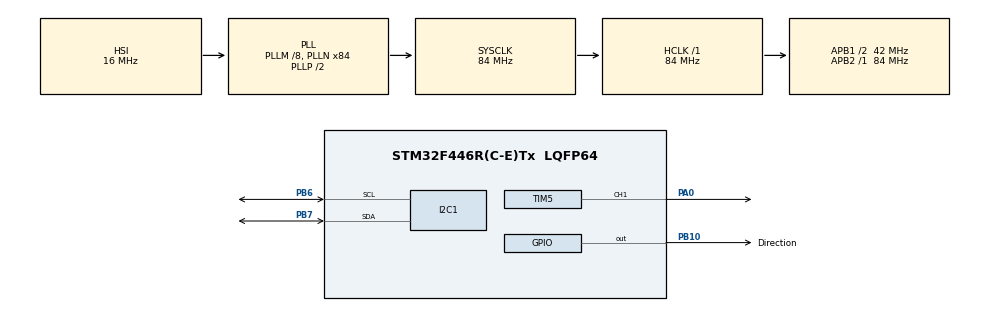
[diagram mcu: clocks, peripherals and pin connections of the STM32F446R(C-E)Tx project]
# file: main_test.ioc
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Dma.Request0=TIM5_CH1
Dma.TIM5_CH1.0.Direction=DMA_MEMORY_TO_PERIPH
Dma.TIM5_CH1.0.FIFOMode=DMA_FIFOMODE_DISABLE
Dma.TIM5_CH1.0.Instance=DMA1_Stream2
Dma.TIM5_CH1.0.MemDataAlignment=DMA_MDATAALIGN_WORD
Dma.TIM5_CH1.0.MemInc=DMA_MINC_ENABLE
Dma.TIM5_CH1.0.Mode=DMA_NORMAL
Dma.TIM5_CH1.0.PeriphDataAlignment=DMA_PDATAALIGN_WORD
Dma.TIM5_CH1.0.PeriphInc=DMA_PINC_DISABLE
Dma.TIM5_CH1.0.Priority=DMA_PRIORITY_LOW
Mcu.Family=STM32F4
Mcu.Name=STM32F446R(C-E)Tx
Mcu.Package=LQFP64
NVIC.DMA1_Stream2_IRQn=true\:0\:0\:false\:false\:true\:false\:true\:true
NVIC.PriorityGroup=NVIC_PRIORITYGROUP_4
PA0-WKUP.Signal=S_TIM5_CH1
PA13.Mode=Trace_Asynchronous_SW
PA13.Signal=SYS_JTMS-SWDIO
PA14.Mode=Trace_Asynchronous_SW
PA14.Signal=SYS_JTCK-SWCLK
PB10.GPIO_Label=Direction
PB10.GPIO_PuPd=GPIO_PULLDOWN
PB10.Signal=GPIO_Output
PB3.Mode=Trace_Asynchronous_SW
PB3.Signal=SYS_JTDO-SWO
PB6.Mode=I2C
PB6.Signal=I2C1_SCL
PB7.Mode=I2C
PB7.Signal=I2C1_SDA
PH0-OSC_IN.Mode=HSE-External-Oscillator
PH0-OSC_IN.Signal=RCC_OSC_IN
PH1-OSC_OUT.Mode=HSE-External-Oscillator
PH1-OSC_OUT.Signal=RCC_OSC_OUT
ProjectManager.HeapSize=0x200
ProjectManager.StackSize=0x400
ProjectManager.TargetToolchain=STM32CubeIDE
RCC.AHBFreq_Value=84000000
RCC.APB1CLKDivider=RCC_HCLK_DIV2
RCC.APB1Freq_Value=42000000
RCC.APB1TimFreq_Value=84000000
RCC.APB2Freq_Value=84000000
RCC.APB2TimFreq_Value=84000000
RCC.CortexFreq_Value=84000000
RCC.HCLKFreq_Value=84000000
RCC.PLLM=8
RCC.PLLN=84
RCC.SYSCLKFreq_VALUE=84000000
RCC.SYSCLKSource=RCC_SYSCLKSOURCE_PLLCLK
RCC.USBFreq_Value=84000000
RCC.VCOOutputFreq_Value=168000000
SH.S_TIM5_CH1.0=TIM5_CH1,PWM Generation1 CH1
TIM5.Channel-PWM\ Generation1\ CH1=TIM_CHANNEL_1
TIM5.Period=99
TIM5.Prescaler=83
board=custom

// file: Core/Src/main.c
/* USER CODE BEGIN Header */
/**
  ******************************************************************************
  * @file           : main.c
  * @brief          : Main program body
  ******************************************************************************
  * @attention
  *
  * Copyright (c) 2024 STMicroelectronics.
  * All rights reserved.
  *
  * This software is licensed under terms that can be found in the LICENSE file
  * in the root directory of this software component.
  * If no LICENSE file comes with this software, it is provided AS-IS.
  *
  ******************************************************************************
  */
/* USER CODE END Header */
#include "main.h"

/* USER CODE BEGIN Includes */
#include <stdio.h>
#include <stdint.h>
#include "mpu6050.h"
#include "nidec_h24.h"
/* USER CODE END Includes */

/* USER CODE BEGIN PD */
#define GPIOB ((GPIO_TypeDef *) GPIOB_BASE)
/* USER CODE END PD */

I2C_HandleTypeDef hi2c1;

TIM_HandleTypeDef htim5;
DMA_HandleTypeDef hdma_tim5_ch1;

void SystemClock_Config(void);
static void MX_GPIO_Init(void);
static void MX_DMA_Init(void);
static void MX_TIM5_Init(void);
static void MX_I2C1_Init(void);

int main(void)
{

  /* MCU Configuration--------------------------------------------------------*/

  /* Reset of all peripherals, Initializes the Flash interface and the Systick. */
  HAL_Init();

  /* Configure the system clock */
  SystemClock_Config();

  /* Initialize all configured peripherals */
  MX_GPIO_Init();
  MX_DMA_Init();
  MX_TIM5_Init();
  MX_I2C1_Init();
  /* USER CODE BEGIN 2 */
  mpu6050_init();
  nidec_h24_init(GPIO_PIN_10, GPIOB);

  short ax;
  short ay;
  short az;

  short gyro_x;
  short gyro_y;
  short gyro_z;

  short t;
  /* USER CODE END 2 */

  /* Infinite loop */
  /* USER CODE BEGIN WHILE */
  while (1)
  {
	  ax = mpu6050_accx();
	  ay = mpu6050_accy();
	  az = mpu6050_accz();
	  gyro_x = mpu6050_gyrox();
	  gyro_y = mpu6050_gyroy();
	  gyro_z = mpu6050_gyroz();
	  nidec_h24_Move(40, 0); //antiorario

	  HAL_Delay(100);
    /* USER CODE END WHILE */

  }
}

void SystemClock_Config(void)
{
  RCC_OscInitTypeDef RCC_OscInitStruct = {0};
  RCC_ClkInitTypeDef RCC_ClkInitStruct = {0};

  /** Configure the main internal regulator output voltage
  */
  __HAL_RCC_PWR_CLK_ENABLE();
  __HAL_PWR_VOLTAGESCALING_CONFIG(PWR_REGULATOR_VOLTAGE_SCALE3);

  /** Initializes the RCC Oscillators according to the specified parameters
  * in the RCC_OscInitTypeDef structure.
  */
  RCC_OscInitStruct.OscillatorType = RCC_OSCILLATORTYPE_HSI;
  RCC_OscInitStruct.HSIState = RCC_HSI_ON;
  RCC_OscInitStruct.HSICalibrationValue = RCC_HSICALIBRATION_DEFAULT;
  RCC_OscInitStruct.PLL.PLLState = RCC_PLL_ON;
  RCC_OscInitStruct.PLL.PLLSource = RCC_PLLSOURCE_HSI;
  RCC_OscInitStruct.PLL.PLLM = 8;
  RCC_OscInitStruct.PLL.PLLN = 84;
  RCC_OscInitStruct.PLL.PLLP = RCC_PLLP_DIV2;
  RCC_OscInitStruct.PLL.PLLQ = 2;
  RCC_OscInitStruct.PLL.PLLR = 2;
  if (HAL_RCC_OscConfig(&RCC_OscInitStruct) != HAL_OK)
  {
    Error_Handler();
  }

  /** Initializes the CPU, AHB and APB buses clocks
  */
  RCC_ClkInitStruct.ClockType = RCC_CLOCKTYPE_HCLK|RCC_CLOCKTYPE_SYSCLK
                              |RCC_CLOCKTYPE_PCLK1|RCC_CLOCKTYPE_PCLK2;
  RCC_ClkInitStruct.SYSCLKSource = RCC_SYSCLKSOURCE_PLLCLK;
  RCC_ClkInitStruct.AHBCLKDivider = RCC_SYSCLK_DIV1;
  RCC_ClkInitStruct.APB1CLKDivider = RCC_HCLK_DIV2;
  RCC_ClkInitStruct.APB2CLKDivider = RCC_HCLK_DIV1;

  if (HAL_RCC_ClockConfig(&RCC_ClkInitStruct, FLASH_LATENCY_2) != HAL_OK)
  {
    Error_Handler();
  }
}

static void MX_I2C1_Init(void)
{

  hi2c1.Instance = I2C1;
  hi2c1.Init.ClockSpeed = 100000;
  hi2c1.Init.DutyCycle = I2C_DUTYCYCLE_2;
  hi2c1.Init.OwnAddress1 = 0;
  hi2c1.Init.AddressingMode = I2C_ADDRESSINGMODE_7BIT;
  hi2c1.Init.DualAddressMode = I2C_DUALADDRESS_DISABLE;
  hi2c1.Init.OwnAddress2 = 0;
  hi2c1.Init.GeneralCallMode = I2C_GENERALCALL_DISABLE;
  hi2c1.Init.NoStretchMode = I2C_NOSTRETCH_DISABLE;
  if (HAL_I2C_Init(&hi2c1) != HAL_OK)
  {
    Error_Handler();
  }

}

static void MX_TIM5_Init(void)
{

  TIM_MasterConfigTypeDef sMasterConfig = {0};
  TIM_OC_InitTypeDef sConfigOC = {0};

  htim5.Instance = TIM5;
  htim5.Init.Prescaler = 83;
  htim5.Init.CounterMode = TIM_COUNTERMODE_UP;
  htim5.Init.Period = 99;
  htim5.Init.ClockDivision = TIM_CLOCKDIVISION_DIV1;
  htim5.Init.AutoReloadPreload = TIM_AUTORELOAD_PRELOAD_DISABLE;
  if (HAL_TIM_PWM_Init(&htim5) != HAL_OK)
  {
    Error_Handler();
  }
  sMasterConfig.MasterOutputTrigger = TIM_TRGO_RESET;
  sMasterConfig.MasterSlaveMode = TIM_MASTERSLAVEMODE_DISABLE;
  if (HAL_TIMEx_MasterConfigSynchronization(&htim5, &sMasterConfig) != HAL_OK)
  {
    Error_Handler();
  }
  sConfigOC.OCMode = TIM_OCMODE_PWM1;
  sConfigOC.Pulse = 0;
  sConfigOC.OCPolarity = TIM_OCPOLARITY_HIGH;
  sConfigOC.OCFastMode = TIM_OCFAST_DISABLE;
  if (HAL_TIM_PWM_ConfigChannel(&htim5, &sConfigOC, TIM_CHANNEL_1) != HAL_OK)
  {
    Error_Handler();
  }
  HAL_TIM_MspPostInit(&htim5);

}

static void MX_DMA_Init(void)
{

  /* DMA controller clock enable */
  __HAL_RCC_DMA1_CLK_ENABLE();

  /* DMA interrupt init */
  /* DMA1_Stream2_IRQn interrupt configuration */
  HAL_NVIC_SetPriority(DMA1_Stream2_IRQn, 0, 0);
  HAL_NVIC_EnableIRQ(DMA1_Stream2_IRQn);

}

static void MX_GPIO_Init(void)
{
  GPIO_InitTypeDef GPIO_InitStruct = {0};

  /* GPIO Ports Clock Enable */
  __HAL_RCC_GPIOH_CLK_ENABLE();
  __HAL_RCC_GPIOA_CLK_ENABLE();
  __HAL_RCC_GPIOB_CLK_ENABLE();

  /*Configure GPIO pin Output Level */
  HAL_GPIO_WritePin(Direction_GPIO_Port, Direction_Pin, GPIO_PIN_RESET);

  /*Configure GPIO pin : Direction_Pin */
  GPIO_InitStruct.Pin = Direction_Pin;
  GPIO_InitStruct.Mode = GPIO_MODE_OUTPUT_PP;
  GPIO_InitStruct.Pull = GPIO_PULLDOWN;
  GPIO_InitStruct.Speed = GPIO_SPEED_FREQ_LOW;
  HAL_GPIO_Init(Direction_GPIO_Port, &GPIO_InitStruct);

}

void Error_Handler(void)
{
  __disable_irq();
  while (1)
  {
  }
}
